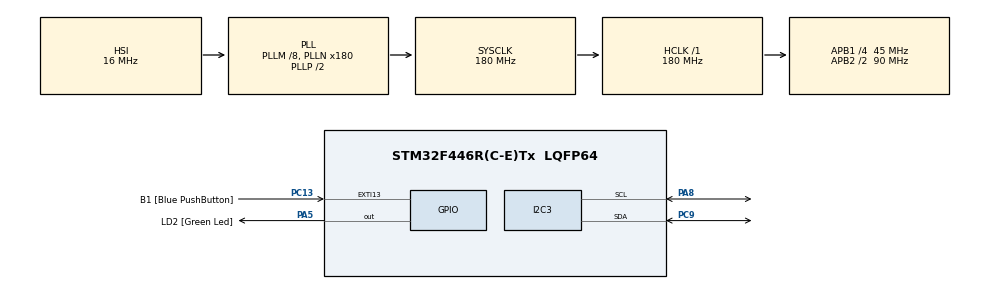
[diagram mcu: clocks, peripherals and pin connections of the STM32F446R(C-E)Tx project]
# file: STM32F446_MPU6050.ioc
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I2C3.I2C_Mode=I2C_Fast
Mcu.Family=STM32F4
Mcu.Name=STM32F446R(C-E)Tx
Mcu.Package=LQFP64
NVIC.PriorityGroup=NVIC_PRIORITYGROUP_0
PA13.GPIO_Label=TMS
PA13.Signal=SYS_JTMS-SWDIO
PA14.GPIO_Label=TCK
PA14.Signal=SYS_JTCK-SWCLK
PA2.GPIO_Label=USART_TX
PA2.Signal=USART2_TX
PA3.GPIO_Label=USART_RX
PA3.Signal=USART2_RX
PA5.GPIO_Label=LD2 [Green Led]
PA5.Signal=GPIO_Output
PA8.Mode=I2C
PA8.Signal=I2C3_SCL
PB3.GPIO_Label=SWO
PB3.Signal=SYS_JTDO-SWO
PC13.GPIO_Label=B1 [Blue PushButton]
PC13.GPIO_ModeDefaultEXTI=GPIO_MODE_IT_FALLING
PC13.Signal=GPXTI13
PC14-OSC32_IN.Signal=RCC_OSC32_IN
PC15-OSC32_OUT.Signal=RCC_OSC32_OUT
PC9.Mode=I2C
PC9.Signal=I2C3_SDA
PH0-OSC_IN.Signal=RCC_OSC_IN
PH1-OSC_OUT.Signal=RCC_OSC_OUT
ProjectManager.HeapSize=0x200
ProjectManager.StackSize=0x400
ProjectManager.TargetToolchain=STM32CubeIDE
RCC.AHBFreq_Value=180000000
RCC.APB1CLKDivider=RCC_HCLK_DIV4
RCC.APB1Freq_Value=45000000
RCC.APB1TimFreq_Value=90000000
RCC.APB2CLKDivider=RCC_HCLK_DIV2
RCC.APB2Freq_Value=90000000
RCC.APB2TimFreq_Value=180000000
RCC.CortexFreq_Value=180000000
RCC.FLatency-AdvancedSettings=FLASH_LATENCY_5
RCC.HCLKFreq_Value=180000000
RCC.HSE_VALUE=8000000
RCC.HSI_VALUE=16000000
RCC.LSE_VALUE=32768
RCC.PLLM=8
RCC.PLLN=180
RCC.SYSCLKFreq_VALUE=180000000
RCC.SYSCLKSource=RCC_SYSCLKSOURCE_PLLCLK
RCC.USBFreq_Value=180000000
RCC.VCOOutputFreq_Value=360000000
board=NUCLEO-F446RE

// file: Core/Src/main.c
/* USER CODE BEGIN Header */
/**
 ******************************************************************************
 * @file           : main.c
 * @brief          : Main program body
 ******************************************************************************
 * @attention
 *
 * Copyright (c) 2022 STMicroelectronics.
 * All rights reserved.
 *
 * This software is licensed under terms that can be found in the LICENSE file
 * in the root directory of this software component.
 * If no LICENSE file comes with this software, it is provided AS-IS.
 *
 ******************************************************************************
 */
/* USER CODE END Header */
#include "main.h"
#include "i2c.h"
#include "gpio.h"

/* USER CODE BEGIN Includes */
#include "MPU6050.h"
/* USER CODE END Includes */

void SystemClock_Config(void);

/* USER CODE BEGIN 0 */
long cnt11;
int ZTh;
int ZDur;
int motionStatus;
float yaw, pitch, roll;
int16_t gyroOffset[3];
uint8_t control;
int time;
/* USER CODE END 0 */

int main(void)
{

  /* MCU Configuration--------------------------------------------------------*/

  /* Reset of all peripherals, Initializes the Flash interface and the Systick. */
  HAL_Init();

  /* Configure the system clock */
  SystemClock_Config();

  /* Initialize all configured peripherals */
  MX_GPIO_Init();
  MX_I2C3_Init();
  /* USER CODE BEGIN 2 */
	IIC_Init(hi2c3);
	IIC_InitLockupRecover(GPIOA, 		//scl
			GPIO_PIN_8, //scl
			GPIOC, 		//sda
			GPIO_PIN_9); 		//sda
	IIC_LockupRecover();

	printf("\n\rMPU6050 is initializing....\n\r");
	MPU6050_initialize();
	printf("\n\rMPU6050 has been initialized....\n\r");
	MPU6050_DMPInit();
	dmp_enable_gyro_cal(0);
	//  MPU6050_setZGyroOffset(-32);
	MPU6050_GyroCalibration(200);
	printf("Gyro Has Been Calibrated!!!!!!!!!!\n");

  /* USER CODE END 2 */

  /* Infinite loop */
	while (1)
	{

    /* USER CODE BEGIN 3 */
		MPU6050_getAllGyroOffset(gyroOffset);
		long lastTime = HAL_GetTick();
		MPU6050_readDMPAll(&pitch, &roll, &yaw);
		time = HAL_GetTick() - lastTime;

		MPU6050_GyroContinuosCalibration(5000, 0);
	}
  /* USER CODE END 3 */
}

void SystemClock_Config(void)
{
  RCC_OscInitTypeDef RCC_OscInitStruct = {0};
  RCC_ClkInitTypeDef RCC_ClkInitStruct = {0};

  /** Configure the main internal regulator output voltage
  */
  __HAL_RCC_PWR_CLK_ENABLE();
  __HAL_PWR_VOLTAGESCALING_CONFIG(PWR_REGULATOR_VOLTAGE_SCALE1);

  /** Initializes the RCC Oscillators according to the specified parameters
  * in the RCC_OscInitTypeDef structure.
  */
  RCC_OscInitStruct.OscillatorType = RCC_OSCILLATORTYPE_HSI;
  RCC_OscInitStruct.HSIState = RCC_HSI_ON;
  RCC_OscInitStruct.HSICalibrationValue = RCC_HSICALIBRATION_DEFAULT;
  RCC_OscInitStruct.PLL.PLLState = RCC_PLL_ON;
  RCC_OscInitStruct.PLL.PLLSource = RCC_PLLSOURCE_HSI;
  RCC_OscInitStruct.PLL.PLLM = 8;
  RCC_OscInitStruct.PLL.PLLN = 180;
  RCC_OscInitStruct.PLL.PLLP = RCC_PLLP_DIV2;
  RCC_OscInitStruct.PLL.PLLQ = 2;
  RCC_OscInitStruct.PLL.PLLR = 2;
  if (HAL_RCC_OscConfig(&RCC_OscInitStruct) != HAL_OK)
  {
    Error_Handler();
  }

  /** Activate the Over-Drive mode
  */
  if (HAL_PWREx_EnableOverDrive() != HAL_OK)
  {
    Error_Handler();
  }

  /** Initializes the CPU, AHB and APB buses clocks
  */
  RCC_ClkInitStruct.ClockType = RCC_CLOCKTYPE_HCLK|RCC_CLOCKTYPE_SYSCLK
                              |RCC_CLOCKTYPE_PCLK1|RCC_CLOCKTYPE_PCLK2;
  RCC_ClkInitStruct.SYSCLKSource = RCC_SYSCLKSOURCE_PLLCLK;
  RCC_ClkInitStruct.AHBCLKDivider = RCC_SYSCLK_DIV1;
  RCC_ClkInitStruct.APB1CLKDivider = RCC_HCLK_DIV4;
  RCC_ClkInitStruct.APB2CLKDivider = RCC_HCLK_DIV2;

  if (HAL_RCC_ClockConfig(&RCC_ClkInitStruct, FLASH_LATENCY_5) != HAL_OK)
  {
    Error_Handler();
  }
}

/* USER CODE BEGIN 4 */
int _write(int file, char *ptr, int len)
{
	int DataIdx;

	for (DataIdx = 0; DataIdx < len; DataIdx++)
	{
		ITM_SendChar(*ptr++);
	}
	return len;
}
/* USER CODE END 4 */

void Error_Handler(void)
{
	__disable_irq();
	while (1)
	{
	}
}
